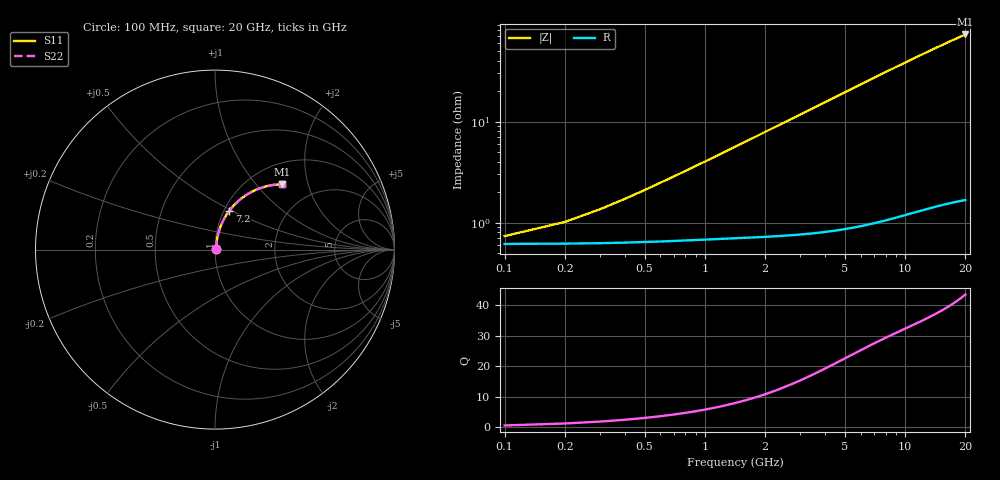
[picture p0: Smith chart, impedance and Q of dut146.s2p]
! Touchstone file exported from HFSS 2026.1.0
!  File:  C:/ffzhzh/LocalFiles/Ansys_Project_Files/temp_train_BSMRDL_146_1782986518_40604.aedt
!  Generated:  06:03:24 PM Jul  2, 2026
!  Design:  BSMRDL
!  Project:  temp_train_BSMRDL_146_1782986518_40604
! Variables:
!  h_bsmrdl = 3.16um
!  h_ox = 20um
!  h_rdl = 5um
!  h_sub = 80um
!  h_tmrdl = 5um
!  h_tsv = 80um
!  h_via = 3um
!  l_bsmrdl = 557.12um
!  l_sub = 957.12um
!  l_tmrdl = 200um
!  m_sub = 200um
!  pitch = 48.48um
!  r_tsv = 6um
!  s_tmrdl = 10um
!  w_bsmrdl = 10.2um
!  w_sub = 500um
!  w_tmrdl = 12um
!  x_tsv_center1 = 206um
!  x_tsv_center2 = 773.32um
!  x_tsv_center3 = 985.32um
!  x_tsv_center4 = 1552.64um
!  x_tsv_center5 = 1764.64um
!  x_tsv_center6 = 2331.96um
# GHz S MA R 50.000000
! Terminal data exported
! Port[1] = BSM_RDL1_1_T1
! Port[2] = BSM_RDL1_1_T2
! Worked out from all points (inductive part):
!   200 points, 100 MHz to 20 GHz, reference 50 ohm
!   read as one part in series: L = 634 pH near 500 MHz
!   highest Q = 43.4 at 20 GHz (marker M1), where L = 578 pH
!   S11 on the Smith chart (normalised r, x): 100 MHz: 1.01, +0.01; 7.2 GHz: 1.06, +0.49; 20 GHz: 1.39, +1.39
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0.1  0.007042 29.2  0.9939 -0.3  0.9939 -0.3  0.007042 29.2
! Gamma 0 0 0 0
! Port Impedance 50 0 50 0
0.3  0.01209 58.2  0.9937 -0.8  0.9937 -0.8  0.01209 58.2
0.4  0.01515 64.4  0.9936 -1.0  0.9936 -1.0  0.01515 64.4
0.5  0.01832 68.3  0.9935 -1.3  0.9935 -1.3  0.01832 68.3
0.6  0.02154 71.0  0.9933 -1.6  0.9933 -1.6  0.02154 71.0
0.7  0.02479 72.9  0.9932 -1.8  0.9932 -1.8  0.02479 72.9
0.9  0.03132 75.3  0.9928 -2.3  0.9928 -2.3  0.03132 75.3
1.2  0.04115 77.3  0.9923 -3.1  0.9923 -3.1  0.04115 77.3
1.4  0.04771 78.0  0.9919 -3.6  0.9919 -3.6  0.04771 78.0
1.7  0.05757 78.6  0.9913 -4.3  0.9913 -4.3  0.05757 78.6
2.2  0.07399 78.8  0.99 -5.6  0.99 -5.6  0.07399 78.8
2.8  0.09363 78.3  0.9882 -7.1  0.9882 -7.1  0.09363 78.3
3.5  0.1164 77.3  0.9855 -8.9  0.9855 -8.9  0.1164 77.3
4.2  0.1388 76.1  0.9823 -10.6  0.9823 -10.6  0.1388 76.1
5  0.1641 74.5  0.978 -12.6  0.978 -12.6  0.1641 74.5
6.8  0.2192 70.6  0.9663 -16.9  0.9663 -16.9  0.2192 70.6
7.2  0.2311 69.7  0.9633 -17.9  0.9633 -17.9  0.231 69.7
8.6  0.2713 66.6  0.9521 -21.1  0.9521 -21.1  0.2713 66.7
10.1  0.3122 63.4  0.9388 -24.5  0.9388 -24.5  0.3122 63.4
13.4  0.3937 56.5  0.9065 -31.7  0.9065 -31.7  0.3937 56.5
16.7  0.4637 50.0  0.8723 -38.3  0.8723 -38.3  0.4636 50.1
20  0.5226 44.1  0.8384 -44.4  0.8384 -44.4  0.5226 44.1
